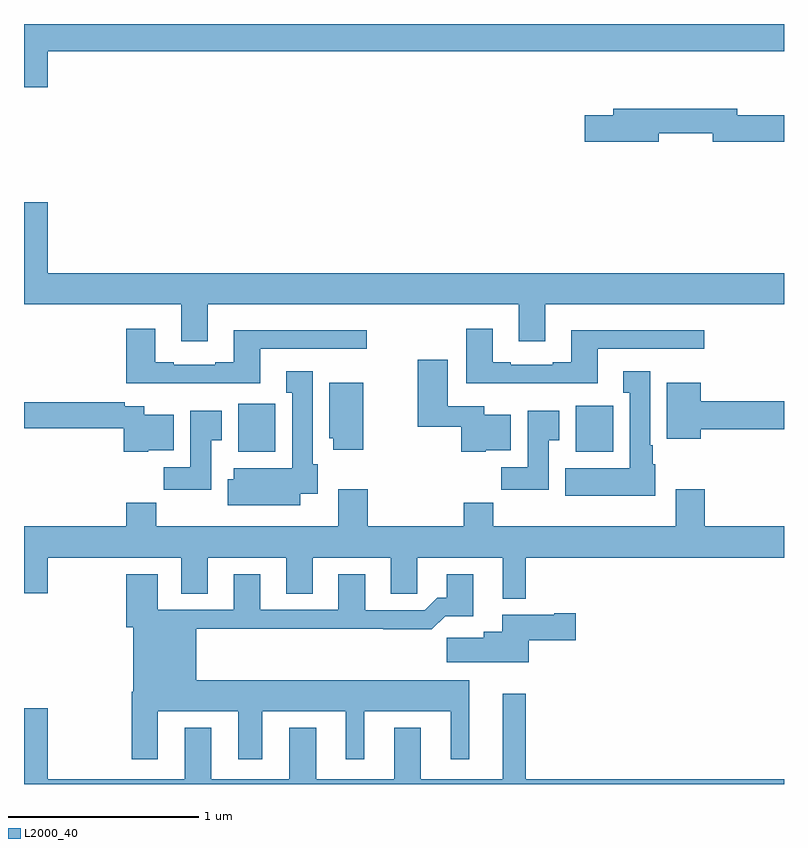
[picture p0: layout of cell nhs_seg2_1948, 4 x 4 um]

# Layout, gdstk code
import gdstk
lib = gdstk.Library(unit=1e-6, precision=1e-09)
def R(c, l, rs):  # rectangles x0, y0, x1, y1
    for r in rs: c.add(gdstk.rectangle(r[:2], r[2:], *l))
def P(c, l, *ps):  # polygons
    for p in ps: c.add(gdstk.Polygon(p, *l))
L2000_40 = (2000, 40)

nhs_seg2_1948 = lib.new_cell('nhs_seg2_1948')
R(nhs_seg2_1948, L2000_40, [(214.127,625.55,214.323,625.801), (215.903,625.55,216.1,625.792)])
P(nhs_seg2_1948, L2000_40, [(213.124,627.656),(217,627.656),(217,627.8),(213,627.8),(213,627.468),(213.124,627.468)],
  [(216.34,627.226),(216.626,627.226),(216.626,627.179),(217,627.179),(217,627.321),(216.754,627.321),(216.754,627.355),(216.101,627.355),(216.101,627.321),(215.952,627.321),(215.952,627.179),(216.34,627.179)],
  [(213.967,626.324),(215.603,626.324),(215.603,626.13),(215.743,626.13),(215.743,626.324),(217,626.324),(217,626.488),(213.124,626.488),(213.124,626.863),(213,626.863),(213,626.324),(213.827,626.324),(213.827,626.13),(213.967,626.13)],
  [(214.243,626.091),(214.804,626.091),(214.804,626.188),(214.103,626.188),(214.103,626.02),(214.007,626.02),(214.007,626.007),(213.787,626.007),(213.787,626.02),(213.691,626.02),(213.691,626.197),(213.539,626.197),(213.539,625.91),(214.243,625.91)],
  [(216.019,626.091),(216.58,626.091),(216.58,626.188),(215.879,626.188),(215.879,626.02),(215.783,626.02),(215.783,626.007),(215.563,626.007),(215.563,626.02),(215.467,626.02),(215.467,626.197),(215.327,626.197),(215.327,625.91),(216.019,625.91)],
  [(215.43,625.556),(215.563,625.556),(215.563,625.744),(215.422,625.744),(215.422,625.789),(215.23,625.789),(215.23,626.032),(215.072,626.032),(215.072,625.679),(215.3,625.679),(215.3,625.55),(215.43,625.55)],
  [(216.322,625.482),(216.31,625.482),(216.31,625.582),(216.295,625.582),(216.295,625.972),(216.155,625.972),(216.155,625.859),(216.188,625.859),(216.188,625.462),(215.849,625.462),(215.849,625.316),(216.322,625.316)],
  [(214.453,625.328),(214.546,625.328),(214.546,625.482),(214.519,625.482),(214.519,625.972),(214.379,625.972),(214.379,625.859),(214.412,625.859),(214.412,625.462),(214.103,625.462),(214.103,625.403),(214.073,625.403),(214.073,625.268),(214.453,625.268)],
  [(216.562,625.667),(217,625.667),(217,625.814),(216.562,625.814),(216.562,625.912),(216.383,625.912),(216.383,625.616),(216.562,625.616)],
  [(214.786,625.912),(214.607,625.912),(214.607,625.62),(214.628,625.62),(214.628,625.56),(214.786,625.56)],
  [(213.654,625.556),(213.787,625.556),(213.787,625.744),(213.633,625.744),(213.633,625.788),(213.53,625.788),(213.53,625.808),(213,625.808),(213,625.672),(213.525,625.672),(213.525,625.55),(213.654,625.55)],
  [(215.761,625.609),(215.818,625.609),(215.818,625.765),(215.651,625.765),(215.651,625.468),(215.512,625.468),(215.512,625.35),(215.761,625.35)],
  [(213.985,625.609),(214.042,625.609),(214.042,625.765),(213.875,625.765),(213.875,625.468),(213.736,625.468),(213.736,625.35),(213.985,625.35)],
  [(215.641,624.992),(217,624.992),(217,625.156),(216.584,625.156),(216.584,625.351),(216.431,625.351),(216.431,625.156),(215.471,625.156),(215.471,625.28),(215.315,625.28),(215.315,625.156),(214.808,625.156),(214.808,625.351),(214.655,625.351),(214.655,625.156),(213.695,625.156),(213.695,625.28),(213.539,625.28),(213.539,625.156),(213,625.156),(213,624.804),(213.124,624.804),(213.124,624.992),(213.827,624.992),(213.827,624.802),(213.967,624.802),(213.967,624.992),(214.379,624.992),(214.379,624.802),(214.519,624.802),(214.519,624.992),(214.931,624.992),(214.931,624.802),(215.07,624.802),(215.07,624.992),(215.519,624.992),(215.519,624.776),(215.641,624.776)],
  [(213.703,624.182),(214.127,624.182),(214.127,623.931),(214.255,623.931),(214.255,624.182),(214.694,624.182),(214.694,623.931),(214.792,623.931),(214.792,624.182),(215.246,624.182),(215.246,623.931),(215.344,623.931),(215.344,624.346),(213.907,624.346),(213.907,624.616),(214.891,624.616),(214.891,624.614),(215.147,624.614),(215.216,624.683),(215.365,624.683),(215.365,624.904),(215.225,624.904),(215.225,624.781),(215.176,624.781),(215.109,624.714),(214.795,624.714),(214.795,624.904),(214.655,624.904),(214.655,624.717),(214.243,624.717),(214.243,624.904),(214.103,624.904),(214.103,624.717),(213.703,624.717),(213.703,624.904),(213.539,624.904),(213.539,624.624),(213.575,624.624),(213.575,624.286),(213.568,624.286),(213.568,623.931),(213.703,623.931)],
  [(215.656,624.557),(215.905,624.557),(215.905,624.699),(215.792,624.699),(215.792,624.691),(215.516,624.691),(215.516,624.601),(215.42,624.601),(215.42,624.569),(215.226,624.569),(215.226,624.44),(215.656,624.44)],
  [(217,623.824),(215.641,623.824),(215.641,624.274),(215.519,624.274),(215.519,623.824),(215.089,623.824),(215.089,624.097),(214.949,624.097),(214.949,623.824),(214.537,623.824),(214.537,624.097),(214.397,624.097),(214.397,623.824),(213.985,623.824),(213.985,624.097),(213.845,624.097),(213.845,623.824),(213.124,623.824),(213.124,624.199),(213,624.199),(213,623.8),(217,623.8)])

lib.write_gds('nhs_seg2_1948.gds')
